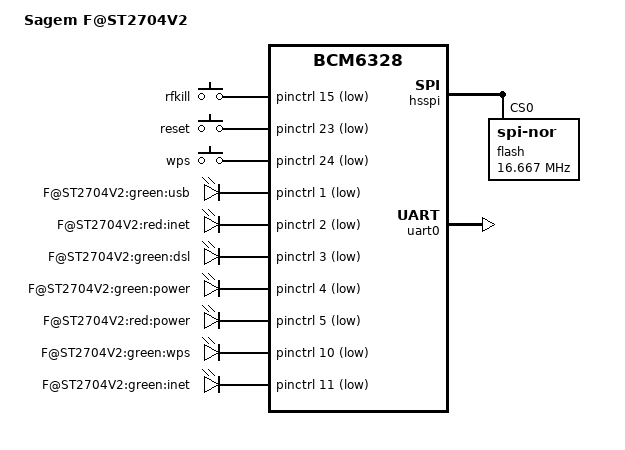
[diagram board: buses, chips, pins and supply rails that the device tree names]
/dts-v1/;

#include "bcm6328.dtsi"

#include <dt-bindings/input/input.h>

/ {
	model = "Sagem F@ST2704V2";
	compatible = "sagem,f@st2704v2", "brcm,bcm6328";

	chosen {
		bootargs = "root=/dev/mtdblock2 rootfstype=squashfs,jffs2 noinitrd console=ttyS0,115200";
		stdout-path = "serial0:115200n8";
	};

	gpio-keys-polled {
		compatible = "gpio-keys-polled";
		#address-cells = <1>;
		#size-cells = <0>;
		poll-interval = <20>;
		debounce-interval = <60>;

		rfkill {
			label = "rfkill";
			gpios = <&pinctrl 15 1>;
			linux,code = <KEY_WLAN>;
		};
		reset {
			label = "reset";
			gpios = <&pinctrl 23 1>;
			linux,code = <KEY_RESTART>;
		};
		wps {
			label = "wps";
			gpios = <&pinctrl 24 1>;
			linux,code = <KEY_WPS_BUTTON>;
		};
	};

	gpio-leds {
		compatible = "gpio-leds";

		usb_green {
			label = "F@ST2704V2:green:usb";
			gpios = <&pinctrl 1 1>;
		};
		inet_red {
			label = "F@ST2704V2:red:inet";
			gpios = <&pinctrl 2 1>;
		};
		dsl_green {
			label = "F@ST2704V2:green:dsl";
			gpios = <&pinctrl 3 1>;
		};
		power_green {
			label = "F@ST2704V2:green:power";
			gpios = <&pinctrl 4 1>;
			default-state = "on";
		};
		power_red {
			label = "F@ST2704V2:red:power";
			gpios = <&pinctrl 5 1>;
		};
		wps_green {
			label = "F@ST2704V2:green:wps";
			gpios = <&pinctrl 10 1>;
		};
		inet_green {
			label = "F@ST2704V2:green:inet";
			gpios = <&pinctrl 11 1>;
		};
	};
};

&hsspi {
	status = "ok";

	flash@0 {
		compatible = "jedec,spi-nor";
		spi-max-frequency = <16666667>;
		spi-tx-bus-width = <2>;
		spi-rx-bus-width = <2>;
		reg = <0>;

		#address-cells = <1>;
		#size-cells = <1>;

		linux,part-probe = "bcm63xxpart";

		cfe@0 {
			reg = <0x000000 0x010000>;
			label = "cfe";
			read-only;
		};

		linux@10000 {
			reg = <0x010000 0x7e0000>;
			label = "linux";
		};

		nvram@7f0000 {
			reg = <0x7f0000 0x010000>;
			label = "nvram";
		};
	};
};

&uart0 {
	status = "ok";
};
